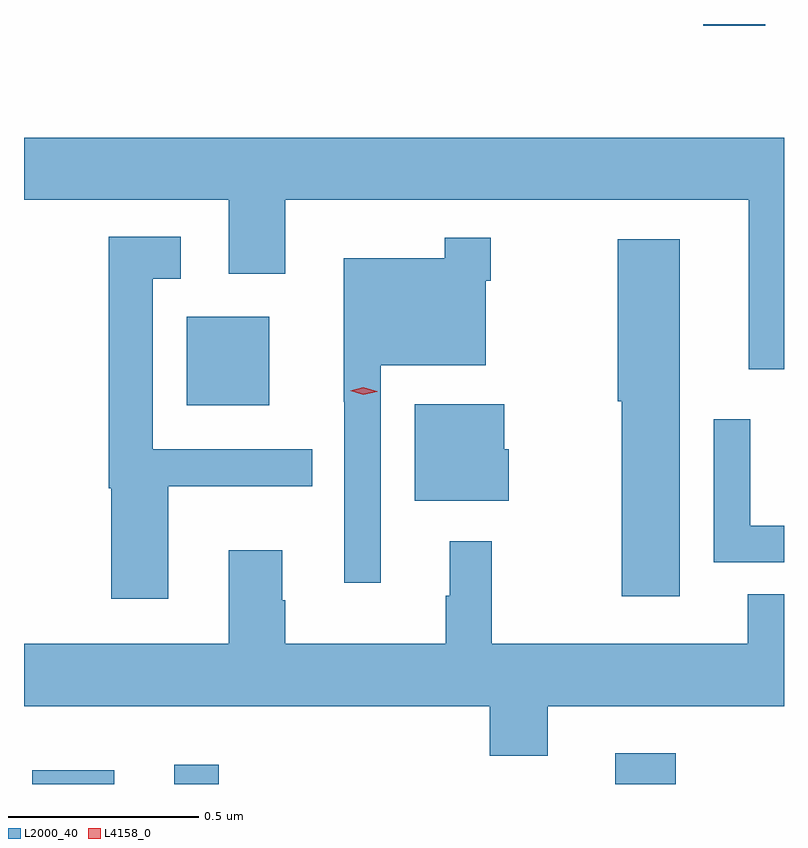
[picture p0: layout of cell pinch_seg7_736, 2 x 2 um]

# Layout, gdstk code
import gdstk
lib = gdstk.Library(unit=1e-6, precision=1e-09)
def R(c, l, rs):  # rectangles x0, y0, x1, y1
    for r in rs: c.add(gdstk.rectangle(r[:2], r[2:], *l))
def P(c, l, *ps):  # polygons
    for p in ps: c.add(gdstk.Polygon(p, *l))
L2000_40 = (2000, 40)
L4158_0 = (4158, 0)

pinch_seg7_736 = lib.new_cell('pinch_seg7_736')
R(pinch_seg7_736, L2000_40, [(273.472,1005.739,273.688,1005.775), (273.846,1005.739,273.962,1005.79), (275.006,1005.739,275.165,1005.82), (273.878,1006.736,274.096,1006.969), (275.238,1007.734,275.4,1007.739)])
P(pinch_seg7_736, L2000_40, [(275.45,1007.44),(273.45,1007.44),(273.45,1007.276),(273.989,1007.276),(273.989,1007.082),(274.138,1007.082),(274.138,1007.276),(275.357,1007.276),(275.357,1006.83),(275.45,1006.83)],
  [(273.829,1006.523),(274.208,1006.523),(274.208,1006.62),(273.789,1006.62),(273.789,1007.069),(273.862,1007.069),(273.862,1007.179),(273.673,1007.179),(273.673,1006.517),(273.68,1006.517),(273.68,1006.227),(273.829,1006.227)],
  [(274.389,1006.841),(274.665,1006.841),(274.665,1007.063),(274.678,1007.063),(274.678,1007.176),(274.557,1007.176),(274.557,1007.122),(274.292,1007.122),(274.292,1006.745),(274.293,1006.745),(274.293,1006.269),(274.389,1006.269)],
  [(275.176,1007.173),(275.012,1007.173),(275.012,1006.746),(275.023,1006.746),(275.023,1006.233),(275.176,1006.233)],
  [(274.726,1006.62),(274.714,1006.62),(274.714,1006.738),(274.478,1006.738),(274.478,1006.484),(274.726,1006.484)],
  [(275.45,1006.419),(275.361,1006.419),(275.361,1006.699),(275.265,1006.699),(275.265,1006.323),(275.45,1006.323)],
  [(274.828,1005.944),(275.45,1005.944),(275.45,1006.238),(275.354,1006.238),(275.354,1006.108),(274.681,1006.108),(274.681,1006.378),(274.571,1006.378),(274.571,1006.235),(274.56,1006.235),(274.56,1006.108),(274.137,1006.108),(274.137,1006.223),(274.129,1006.223),(274.129,1006.354),(273.989,1006.354),(273.989,1006.108),(273.45,1006.108),(273.45,1005.944),(274.676,1005.944),(274.676,1005.814),(274.828,1005.814)])
P(pinch_seg7_736, L4158_0, [(274.343,1006.763),(274.308,1006.774),(274.307,1006.774),(274.308,1006.774),(274.343,1006.783),(274.379,1006.772),(274.379,1006.771),(274.379,1006.771)])

lib.write_gds('pinch_seg7_736.gds')
